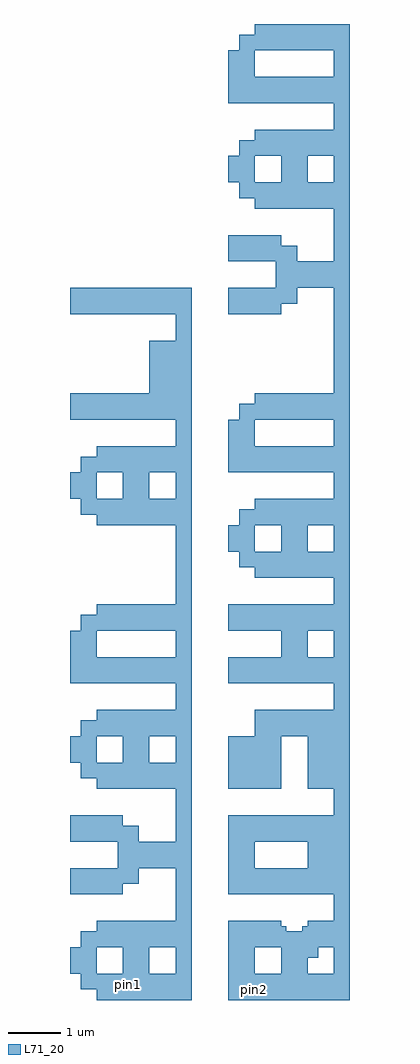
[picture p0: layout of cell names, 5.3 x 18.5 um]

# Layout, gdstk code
import gdstk
lib = gdstk.Library(unit=1e-6, precision=1e-09)
def R(c, l, rs):  # rectangles x0, y0, x1, y1
    for r in rs: c.add(gdstk.rectangle(r[:2], r[2:], *l))
def A(c, l, x, y, w, h, nx, ny, dx, dy):  # array of equal rectangles
    R(c, l, [(x+i*dx, y+j*dy, x+i*dx+w, y+j*dy+h) for i in range(nx) for j in range(ny)])
L71_20 = (71, 20)

names = lib.new_cell('names')
A(names, L71_20, 5.5, 2, 0.3, 0.5, 1, 3, 0, 2)
A(names, L71_20, 2.5, 5, 0.3, 0.5, 1, 3, 0, 1)
A(names, L71_20, 5.5, 7, 0.3, 0.5, 1, 5, 0, 1)
A(names, L71_20, 5.5, 16, 0.3, 0.5, 1, 3, 0, 1)
R(names, L71_20, [(1,0.5,2.8,0.7), (3.5,0.5,5.8,1), (0.7,0.7,2.8,1), (0.5,1,1,1.5), (1.5,1,2,1.5), (2.5,1,2.8,1.5), (3.5,1,4,1.5), (4.5,1,5,1.3), (5.5,1,5.8,1.5), (4.5,1.3,5.2,1.5), (0.7,1.5,2.8,1.8), (3.5,1.5,5.8,1.8), (1,1.8,2.8,2), (3.5,1.8,4.6,1.9), (4.9,1.8,5.8,1.9), (3.5,1.9,4.5,2), (5,1.9,5.8,2), (2.5,2,2.8,3), (0.5,2.5,1.5,2.7), (3.5,2.5,5.8,3), (0.5,2.7,1.8,3), (1.4,3,2.8,3.5), (3.5,3,4,3.5), (5,3,5.8,3.5), (0.5,3.5,1.8,3.8), (2.5,3.5,2.8,4.5), (3.5,3.5,5.8,4), (0.5,3.8,1.5,4), (1,4.5,2.8,4.7), (3.5,4.5,4.5,5.5), (5,4.5,5.8,5.5), (0.7,4.7,2.8,5), (0.5,5,1,5.5), (1.5,5,2,5.5), (0.7,5.5,2.8,5.8), (4,5.5,5.8,6), (1,5.8,2.8,6), (0.5,6.5,2.8,7), (3.5,6.5,5.8,7), (0.5,7,1,7.5), (4.5,7,5,7.5), (0.7,7.5,2.8,7.8), (3.5,7.5,5.8,8), (1,7.8,2.8,8), (2.5,8,2.8,9.5), (4,8.5,5.8,8.7), (3.7,8.7,5.8,9), (3.5,9,4,9.5), (4.5,9,5,9.5), (1,9.5,2.8,9.7), (3.7,9.5,5.8,9.8), (0.7,9.7,2.8,10), (4,9.8,5.8,10), (0.5,10,1,10.5), (1.5,10,2,10.5), (2.5,10,2.8,10.5), (0.7,10.5,2.8,10.8), (3.5,10.5,5.8,11), (1,10.8,2.8,11), (2.5,11,2.8,11.5), (3.5,11,4,11.5), (0.5,11.5,2.8,12), (3.7,11.5,5.8,11.8), (4,11.8,5.8,12), (2,12,2.8,13), (5.5,12,5.8,14), (2.5,13,2.8,13.5), (0.5,13.5,2.8,14), (3.5,13.5,4.5,13.7), (3.5,13.7,4.8,14), (4.4,14,5.8,14.5), (3.5,14.5,4.8,14.8), (5.5,14.5,5.8,15.5), (3.5,14.8,4.5,15), (4,15.5,5.8,15.7), (3.7,15.7,5.8,16), (3.5,16,4,16.5), (4.5,16,5,16.5), (3.7,16.5,5.8,16.8), (4,16.8,5.8,17), (3.5,17.5,5.8,18), (3.5,18,4,18.5), (3.7,18.5,5.8,18.8), (4,18.8,5.8,19)])
names.add(gdstk.Label('pin1', (1.6,0.8), layer=71, texttype=5))
names.add(gdstk.Label('pin2', (4,0.7), layer=71, texttype=5))

lib.write_gds('names.gds')
